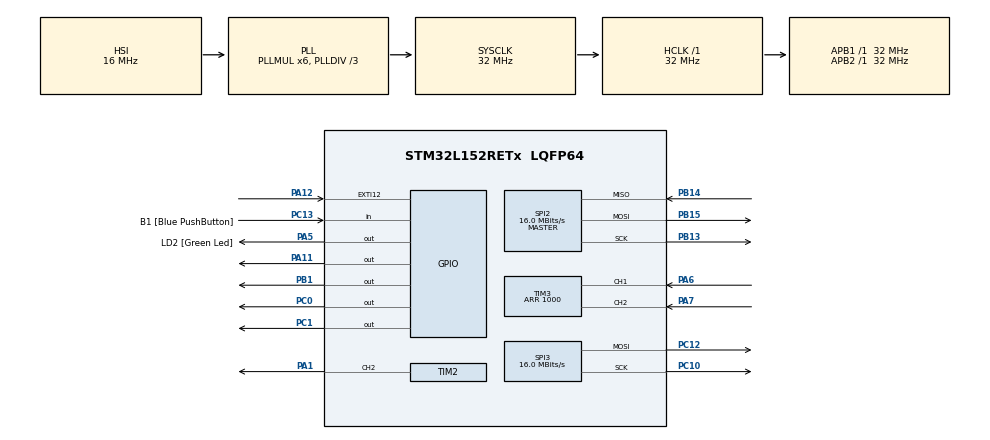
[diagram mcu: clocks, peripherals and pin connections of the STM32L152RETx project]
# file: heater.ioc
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Mcu.Family=STM32L1
Mcu.Name=STM32L152RETx
Mcu.Package=LQFP64
NVIC.EXTI15_10_IRQn=true\:15\:0\:true
NVIC.PriorityGroup=NVIC_PRIORITYGROUP_4
NVIC.TIM4_IRQn=true\:14\:0\:true
NVIC.TIM5_IRQn=true\:0\:0\:false
PA1.Signal=S_TIM2_CH2
PA11.GPIO_ModeDefaultOutputPP=GPIO_MODE_OUTPUT_PP
PA11.GPIO_PuPd=GPIO_PULLUP
PA11.GPIO_Speed=GPIO_SPEED_VERY_LOW
PA11.Signal=GPIO_Output
PA12.GPIO_ModeDefaultEXTI=GPIO_MODE_IT_RISING
PA12.GPIO_PuPd=GPIO_PULLDOWN
PA12.Signal=GPXTI12
PA13.GPIO_Label=TMS
PA13.Mode=Trace-Asynchronous_SW
PA13.Signal=SYS_JTMS-SWDIO
PA14.GPIO_Label=TCK
PA14.Mode=Trace-Asynchronous_SW
PA14.Signal=SYS_JTCK-SWCLK
PA2.GPIO_Label=USART_TX
PA2.GPIO_Mode=GPIO_MODE_AF_PP
PA2.GPIO_PuPd=GPIO_NOPULL
PA2.GPIO_Speed=GPIO_SPEED_HIGH
PA2.Signal=USART2_TX
PA3.GPIO_Label=USART_RX
PA3.GPIO_Mode=GPIO_MODE_AF_PP
PA3.GPIO_PuPd=GPIO_NOPULL
PA3.GPIO_Speed=GPIO_SPEED_HIGH
PA3.Signal=USART2_RX
PA5.GPIO_Label=LD2 [Green Led]
PA5.GPIO_ModeDefaultOutputPP=GPIO_MODE_OUTPUT_PP
PA5.GPIO_PuPd=GPIO_PULLDOWN
PA5.GPIO_Speed=GPIO_SPEED_VERY_LOW
PA5.Signal=GPIO_Output
PA6.GPIO_ModeDefaultPP=GPIO_MODE_AF_PP
PA6.GPIO_PuPd=GPIO_PULLUP
PA6.GPIO_Speed=GPIO_SPEED_MEDIUM
PA6.Signal=S_TIM3_CH1
PA7.GPIO_ModeDefaultPP=GPIO_MODE_AF_PP
PA7.GPIO_PuPd=GPIO_PULLUP
PA7.GPIO_Speed=GPIO_SPEED_MEDIUM
PA7.Signal=S_TIM3_CH2
PB1.Signal=GPIO_Output
PB13.GPIO_Mode=GPIO_MODE_AF_PP
PB13.GPIO_PuPd=GPIO_PULLDOWN
PB13.GPIO_Speed=GPIO_SPEED_HIGH
PB13.Mode=Full_Duplex_Master
PB13.Signal=SPI2_SCK
PB14.GPIO_Mode=GPIO_MODE_AF_PP
PB14.GPIO_PuPd=GPIO_PULLDOWN
PB14.GPIO_Speed=GPIO_SPEED_HIGH
PB14.Mode=Full_Duplex_Master
PB14.Signal=SPI2_MISO
PB15.GPIO_Mode=GPIO_MODE_AF_PP
PB15.GPIO_PuPd=GPIO_PULLDOWN
PB15.GPIO_Speed=GPIO_SPEED_HIGH
PB15.Mode=Full_Duplex_Master
PB15.Signal=SPI2_MOSI
PB3.GPIO_Label=SWO
PB3.Mode=Trace-Asynchronous_SW
PB3.Signal=SYS_JTDO-TRACESWO
PC0.Signal=GPIO_Output
PC1.Signal=GPIO_Output
PC10.Mode=TX_Only_Simplex_Unidirect_Master
PC10.Signal=SPI3_SCK
PC12.Mode=TX_Only_Simplex_Unidirect_Master
PC12.Signal=SPI3_MOSI
PC13-WKUP2.GPIO_Label=B1 [Blue PushButton]
PC13-WKUP2.GPIO_Mode=GPIO_MODE_INPUT
PC13-WKUP2.GPIO_PuPd=GPIO_NOPULL
PC13-WKUP2.Signal=GPIO_Input
PC14-OSC32_IN.Signal=RCC_OSC32_IN
PC15-OSC32_OUT.Signal=RCC_OSC32_OUT
PH0-OSC_IN.Signal=RCC_OSC_IN
PH1-OSC_OUT.Signal=RCC_OSC_OUT
ProjectManager.TargetToolchain=SW4STM32
RCC.AHBFreq_Value=32000000
RCC.APB1Freq_Value=32000000
RCC.APB1TimFreq_Value=32000000
RCC.APB2Freq_Value=32000000
RCC.APB2TimFreq_Value=32000000
RCC.HCLKFreq_Value=32000000
RCC.HSE_VALUE=8000000
RCC.HSI_VALUE=16000000
RCC.LSE_VALUE=32768
RCC.MSI_VALUE=2097000
RCC.PLLDIV=RCC_PLL_DIV3
RCC.PLLMUL=RCC_PLL_MUL6
RCC.RTCClockSelectionVirtual=RCC_RTCCLKSOURCE_LSE
RCC.SYSCLKFreq_VALUE=32000000
RCC.SYSCLKSource=RCC_SYSCLKSOURCE_PLLCLK
RCC.USBOutput=48000000
RCC.VCOOutputFreq_Value=96000000
SH.S_TIM2_CH2.0=TIM2_CH2,PWM Generation2 CH2
SH.S_TIM3_CH1.0=TIM3_CH1,Encoder_Interface
SH.S_TIM3_CH2.0=TIM3_CH2,Encoder_Interface
SPI2.BaudRatePrescaler=SPI_BAUDRATEPRESCALER_2
SPI2.CLKPolarity=SPI_POLARITY_HIGH
SPI2.CalculateBaudRate=16.0 MBits/s
SPI2.DataSize=SPI_DATASIZE_16BIT
SPI2.Mode=SPI_MODE_MASTER
SPI3.CalculateBaudRate=16.0 MBits/s
SPI3.Mode=SPI_MODE_MASTER
TIM2.Channel-PWM\ Generation2\ CH2=TIM_CHANNEL_2
TIM2.Period=0xffff
TIM2.Prescaler=500
TIM3.CounterMode=TIM_COUNTERMODE_DOWN
TIM3.IC1Filter=10
TIM3.IC2Filter=10
TIM3.Period=1000
TIM4.Period=0xffff
TIM4.Prescaler=2000
TIM5.Period=0xffff
TIM5.Prescaler=2000
VP_TIM2_VS_ClockSourceINT.Mode=Internal
VP_TIM4_VS_ClockSourceINT.Mode=Internal
VP_TIM5_VS_ClockSourceINT.Mode=Internal
board=NUCLEO-L152RE

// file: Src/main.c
/**
  ******************************************************************************
  * File Name          : main.c
  * Description        : Main program body
  ******************************************************************************
  *
  * COPYRIGHT(c) 2015 STMicroelectronics
  *
  * Redistribution and use in source and binary forms, with or without modification,
  * are permitted provided that the following conditions are met:
  *   1. Redistributions of source code must retain the above copyright notice,
  *      this list of conditions and the following disclaimer.
  *   2. Redistributions in binary form must reproduce the above copyright notice,
  *      this list of conditions and the following disclaimer in the documentation
  *      and/or other materials provided with the distribution.
  *   3. Neither the name of STMicroelectronics nor the names of its contributors
  *      may be used to endorse or promote products derived from this software
  *      without specific prior written permission.
  *
  * THIS SOFTWARE IS PROVIDED BY THE COPYRIGHT HOLDERS AND CONTRIBUTORS "AS IS"
  * AND ANY EXPRESS OR IMPLIED WARRANTIES, INCLUDING, BUT NOT LIMITED TO, THE
  * IMPLIED WARRANTIES OF MERCHANTABILITY AND FITNESS FOR A PARTICULAR PURPOSE ARE
  * DISCLAIMED. IN NO EVENT SHALL THE COPYRIGHT HOLDER OR CONTRIBUTORS BE LIABLE
  * FOR ANY DIRECT, INDIRECT, INCIDENTAL, SPECIAL, EXEMPLARY, OR CONSEQUENTIAL
  * DAMAGES (INCLUDING, BUT NOT LIMITED TO, PROCUREMENT OF SUBSTITUTE GOODS OR
  * SERVICES; LOSS OF USE, DATA, OR PROFITS; OR BUSINESS INTERRUPTION) HOWEVER
  * CAUSED AND ON ANY THEORY OF LIABILITY, WHETHER IN CONTRACT, STRICT LIABILITY,
  * OR TORT (INCLUDING NEGLIGENCE OR OTHERWISE) ARISING IN ANY WAY OUT OF THE USE
  * OF THIS SOFTWARE, EVEN IF ADVISED OF THE POSSIBILITY OF SUCH DAMAGE.
  *
  ******************************************************************************
  */
#include "stm32l1xx_hal.h"

/* USER CODE BEGIN Includes */
#include "u8g.h"
#include "u8g_arm.h"
#include <stdbool.h>

#define MAX_TEMP 999
#define ENCODER_STEP 3
#define DIFF_TIME_INTERVAL 3.0f;
/* USER CODE END Includes */

SPI_HandleTypeDef hspi2;
SPI_HandleTypeDef hspi3;

TIM_HandleTypeDef htim2;
TIM_HandleTypeDef htim3;
TIM_HandleTypeDef htim4;
TIM_HandleTypeDef htim5;

/* USER CODE BEGIN PV */
/* Private variables ---------------------------------------------------------*/
int temperature_get;
int temperature_set;
float pwm;
u8g_t u8g;
bool btn_short_pressed = false;
bool tmp_measure_made = false;

const float K_p = 0.07;
const float K_i = 0;
const float K_d = 0.05;
/* USER CODE END PV */

void SystemClock_Config(void);
static void MX_GPIO_Init(void);
static void MX_SPI2_Init(void);
static void MX_SPI3_Init(void);
static void MX_TIM2_Init(void);
static void MX_TIM3_Init(void);
static void MX_TIM4_Init(void);
static void MX_TIM5_Init(void);

/* USER CODE BEGIN PFP */
void set_pwm(float pwm_value);
float pid(float t_meas, float t_set)
{
	static int error_sum = 0;
	static float prev_diff = 0;
	float diff = t_set - t_meas;
	float d_diff = (prev_diff - diff) / DIFF_TIME_INTERVAL;
	prev_diff = diff;

	float result_pwm = 0;
	if (btn_short_pressed)
	{
		error_sum += diff;
		result_pwm = K_p*diff + K_i*error_sum + K_d*d_diff;

		if (error_sum > MAX_TEMP * 2)
		{
			error_sum = MAX_TEMP;
		}
		if (error_sum < -MAX_TEMP * 2)
		{
			error_sum = -MAX_TEMP;
		}
		if (result_pwm > 1.0)
		{
			result_pwm = 1.0;
		}
	}
	if (!btn_short_pressed)
	{
		result_pwm = 0.0;
	}
	return result_pwm;
}
/* Private function prototypes -----------------------------------------------*/

/* USER CODE END PFP */

/* USER CODE BEGIN 0 */

void draw_mask()
{
  u8g.font = u8g_font_profont10;
  u8g_DrawStr(&u8g, 3, 30, "MEASURED");
  u8g_DrawStr(&u8g, 75, 30, "SET");

}

void set_pwm(float pwm_value)
{
	TIM2->CCR2 = pwm_value * 0xffff;
}
/* USER CODE END 0 */

int main(void)
{

  /* MCU Configuration----------------------------------------------------------*/

  /* Reset of all peripherals, Initializes the Flash interface and the Systick. */
  HAL_Init();

  /* Configure the system clock */
  SystemClock_Config();

  /* Initialize all configured peripherals */
  MX_GPIO_Init();
  MX_SPI2_Init();
  MX_SPI3_Init();
  MX_TIM2_Init();
  MX_TIM3_Init();
  MX_TIM4_Init();
  MX_TIM5_Init();

  /* USER CODE BEGIN 2 */
  HAL_TIM_PWM_Start(&htim2, TIM_CHANNEL_2);
  HAL_TIM_Encoder_Start(&htim3,TIM_CHANNEL_ALL);
  HAL_TIM_Base_Start_IT(&htim4);
  HAL_GPIO_WritePin(GPIOA, GPIO_PIN_11, GPIO_PIN_SET);

  TIM3->ARR = MAX_TEMP / ENCODER_STEP;
  TIM3->CNT = MAX_TEMP / ENCODER_STEP;

  u8g_InitComFn(&u8g, &u8g_dev_ssd1306_128x64_hw_spi, u8g_com_hw_spi_fn);
  HAL_Delay(100);

  char buff_t_get[10];
  char buff_t_set[10];

  //set_pwm(0.5);
  /* USER CODE END 2 */

  /* Infinite loop */
  while (1)
  {

  /* USER CODE BEGIN 3 */
	  u8g_FirstPage(&u8g);
	  	  do
	  	  {

	  		  draw_mask();
	  		  temperature_set = MAX_TEMP - ENCODER_STEP*TIM3->CNT;
	  		  pwm = pid(temperature_get, temperature_set);
	  		  set_pwm(pwm);

	  		  sprintf(buff_t_get, "%d", temperature_get);
	  		  sprintf(buff_t_set, "%d", temperature_set);
	  		  u8g.font = u8g_font_profont22;
	  		  u8g_DrawStr(&u8g, 20, 55, buff_t_get);
	  		  u8g_DrawStr(&u8g, 75, 55, buff_t_set);

	  		  u8g.font = u8g_font_profont10;
	  		  sprintf(buff_t_get, "%f", pwm);
	  		  u8g_DrawStr(&u8g, 90, 30, buff_t_get);

	  		  if (tmp_measure_made)
	  		  {
	  			  u8g.font = u8g_font_profont10;
	  			  u8g_DrawStr(&u8g, 3, 7, "MEAS");

	  		  }

	  		  if (HAL_GPIO_ReadPin(GPIOA, GPIO_PIN_1))
	  		  {
	  			  u8g.font = u8g_font_profont10;
	  		      u8g_DrawStr(&u8g, 60, 7, "HEAT");
	  		  }
	  		  if (btn_short_pressed)
	  		  {
	  			  u8g.font = u8g_font_profont10;
	  		      u8g_DrawStr(&u8g, 90, 7, "START");

	  		  } else
	  		  {
	  			u8g.font = u8g_font_profont10;
	  			u8g_DrawStr(&u8g, 90, 7, "STOP");
	  		  }

	          } while ( u8g_NextPage(&u8g) );
	          HAL_Delay(10);

  }
  /* USER CODE END 3 */

}

/** System Clock Configuration
*/
void SystemClock_Config(void)
{

  RCC_OscInitTypeDef RCC_OscInitStruct;
  RCC_ClkInitTypeDef RCC_ClkInitStruct;

  __PWR_CLK_ENABLE();

  __HAL_PWR_VOLTAGESCALING_CONFIG(PWR_REGULATOR_VOLTAGE_SCALE1);

  RCC_OscInitStruct.OscillatorType = RCC_OSCILLATORTYPE_HSI;
  RCC_OscInitStruct.HSIState = RCC_HSI_ON;
  RCC_OscInitStruct.HSICalibrationValue = 16;
  RCC_OscInitStruct.PLL.PLLState = RCC_PLL_ON;
  RCC_OscInitStruct.PLL.PLLSource = RCC_PLLSOURCE_HSI;
  RCC_OscInitStruct.PLL.PLLMUL = RCC_PLL_MUL6;
  RCC_OscInitStruct.PLL.PLLDIV = RCC_PLL_DIV3;
  HAL_RCC_OscConfig(&RCC_OscInitStruct);

  RCC_ClkInitStruct.ClockType = RCC_CLOCKTYPE_SYSCLK;
  RCC_ClkInitStruct.SYSCLKSource = RCC_SYSCLKSOURCE_PLLCLK;
  RCC_ClkInitStruct.AHBCLKDivider = RCC_SYSCLK_DIV1;
  RCC_ClkInitStruct.APB1CLKDivider = RCC_HCLK_DIV1;
  RCC_ClkInitStruct.APB2CLKDivider = RCC_HCLK_DIV1;
  HAL_RCC_ClockConfig(&RCC_ClkInitStruct, FLASH_LATENCY_1);

  HAL_SYSTICK_Config(HAL_RCC_GetHCLKFreq()/1000);

  HAL_SYSTICK_CLKSourceConfig(SYSTICK_CLKSOURCE_HCLK);

  /* SysTick_IRQn interrupt configuration */
  HAL_NVIC_SetPriority(SysTick_IRQn, 0, 0);
}

/* SPI2 init function */
void MX_SPI2_Init(void)
{

  hspi2.Instance = SPI2;
  hspi2.Init.Mode = SPI_MODE_MASTER;
  hspi2.Init.Direction = SPI_DIRECTION_2LINES;
  hspi2.Init.DataSize = SPI_DATASIZE_16BIT;
  hspi2.Init.CLKPolarity = SPI_POLARITY_HIGH;
  hspi2.Init.CLKPhase = SPI_PHASE_1EDGE;
  hspi2.Init.NSS = SPI_NSS_SOFT;
  hspi2.Init.BaudRatePrescaler = SPI_BAUDRATEPRESCALER_2;
  hspi2.Init.FirstBit = SPI_FIRSTBIT_MSB;
  hspi2.Init.TIMode = SPI_TIMODE_DISABLED;
  hspi2.Init.CRCCalculation = SPI_CRCCALCULATION_DISABLED;
  hspi2.Init.CRCPolynomial = 10;
  HAL_SPI_Init(&hspi2);

}

/* SPI3 init function */
void MX_SPI3_Init(void)
{

  hspi3.Instance = SPI3;
  hspi3.Init.Mode = SPI_MODE_MASTER;
  hspi3.Init.Direction = SPI_DIRECTION_2LINES;
  hspi3.Init.DataSize = SPI_DATASIZE_8BIT;
  hspi3.Init.CLKPolarity = SPI_POLARITY_LOW;
  hspi3.Init.CLKPhase = SPI_PHASE_1EDGE;
  hspi3.Init.NSS = SPI_NSS_SOFT;
  hspi3.Init.BaudRatePrescaler = SPI_BAUDRATEPRESCALER_2;
  hspi3.Init.FirstBit = SPI_FIRSTBIT_MSB;
  hspi3.Init.TIMode = SPI_TIMODE_DISABLED;
  hspi3.Init.CRCCalculation = SPI_CRCCALCULATION_DISABLED;
  hspi3.Init.CRCPolynomial = 10;
  HAL_SPI_Init(&hspi3);

}

/* TIM2 init function */
void MX_TIM2_Init(void)
{

  TIM_ClockConfigTypeDef sClockSourceConfig;
  TIM_MasterConfigTypeDef sMasterConfig;
  TIM_OC_InitTypeDef sConfigOC;

  htim2.Instance = TIM2;
  htim2.Init.Prescaler = 500;
  htim2.Init.CounterMode = TIM_COUNTERMODE_UP;
  htim2.Init.Period = 0xffff;
  htim2.Init.ClockDivision = TIM_CLOCKDIVISION_DIV1;
  HAL_TIM_Base_Init(&htim2);

  sClockSourceConfig.ClockSource = TIM_CLOCKSOURCE_INTERNAL;
  HAL_TIM_ConfigClockSource(&htim2, &sClockSourceConfig);

  HAL_TIM_PWM_Init(&htim2);

  sMasterConfig.MasterOutputTrigger = TIM_TRGO_RESET;
  sMasterConfig.MasterSlaveMode = TIM_MASTERSLAVEMODE_DISABLE;
  HAL_TIMEx_MasterConfigSynchronization(&htim2, &sMasterConfig);

  sConfigOC.OCMode = TIM_OCMODE_PWM1;
  sConfigOC.Pulse = 0;
  sConfigOC.OCPolarity = TIM_OCPOLARITY_HIGH;
  sConfigOC.OCFastMode = TIM_OCFAST_DISABLE;
  HAL_TIM_PWM_ConfigChannel(&htim2, &sConfigOC, TIM_CHANNEL_2);

}

/* TIM3 init function */
void MX_TIM3_Init(void)
{

  TIM_Encoder_InitTypeDef sConfig;
  TIM_MasterConfigTypeDef sMasterConfig;

  htim3.Instance = TIM3;
  htim3.Init.Prescaler = 0;
  htim3.Init.CounterMode = TIM_COUNTERMODE_UP;
  htim3.Init.Period = 333;
  htim3.Init.ClockDivision = TIM_CLOCKDIVISION_DIV1;
  sConfig.EncoderMode = TIM_ENCODERMODE_TI1;
  sConfig.IC1Polarity = TIM_ICPOLARITY_RISING;
  sConfig.IC1Selection = TIM_ICSELECTION_DIRECTTI;
  sConfig.IC1Prescaler = TIM_ICPSC_DIV1;
  sConfig.IC1Filter = 10;
  sConfig.IC2Polarity = TIM_ICPOLARITY_RISING;
  sConfig.IC2Selection = TIM_ICSELECTION_DIRECTTI;
  sConfig.IC2Prescaler = TIM_ICPSC_DIV1;
  sConfig.IC2Filter = 10;
  HAL_TIM_Encoder_Init(&htim3, &sConfig);

  sMasterConfig.MasterOutputTrigger = TIM_TRGO_RESET;
  sMasterConfig.MasterSlaveMode = TIM_MASTERSLAVEMODE_DISABLE;
  HAL_TIMEx_MasterConfigSynchronization(&htim3, &sMasterConfig);

}

/* TIM4 init function */
void MX_TIM4_Init(void)
{

  TIM_ClockConfigTypeDef sClockSourceConfig;
  TIM_MasterConfigTypeDef sMasterConfig;

  htim4.Instance = TIM4;
  htim4.Init.Prescaler = 1000;
  htim4.Init.CounterMode = TIM_COUNTERMODE_UP;
  htim4.Init.Period = 0xffff;
  htim4.Init.ClockDivision = TIM_CLOCKDIVISION_DIV1;
  HAL_TIM_Base_Init(&htim4);

  sClockSourceConfig.ClockSource = TIM_CLOCKSOURCE_INTERNAL;
  HAL_TIM_ConfigClockSource(&htim4, &sClockSourceConfig);

  sMasterConfig.MasterOutputTrigger = TIM_TRGO_RESET;
  sMasterConfig.MasterSlaveMode = TIM_MASTERSLAVEMODE_DISABLE;
  HAL_TIMEx_MasterConfigSynchronization(&htim4, &sMasterConfig);

}

/* TIM5 init function */
void MX_TIM5_Init(void)
{

  TIM_ClockConfigTypeDef sClockSourceConfig;
  TIM_MasterConfigTypeDef sMasterConfig;

  htim5.Instance = TIM5;
  htim5.Init.Prescaler = 2000;
  htim5.Init.CounterMode = TIM_COUNTERMODE_UP;
  htim5.Init.Period = 0xffff;
  htim5.Init.ClockDivision = TIM_CLOCKDIVISION_DIV1;
  HAL_TIM_Base_Init(&htim5);

  sClockSourceConfig.ClockSource = TIM_CLOCKSOURCE_INTERNAL;
  HAL_TIM_ConfigClockSource(&htim5, &sClockSourceConfig);

  sMasterConfig.MasterOutputTrigger = TIM_TRGO_RESET;
  sMasterConfig.MasterSlaveMode = TIM_MASTERSLAVEMODE_DISABLE;
  HAL_TIMEx_MasterConfigSynchronization(&htim5, &sMasterConfig);

}

/** Configure pins as
        * Analog
        * Input
        * Output
        * EVENT_OUT
        * EXTI
     PA2   ------> USART2_TX
     PA3   ------> USART2_RX
*/
void MX_GPIO_Init(void)
{

  GPIO_InitTypeDef GPIO_InitStruct;

  /* GPIO Ports Clock Enable */
  __GPIOC_CLK_ENABLE();
  __GPIOH_CLK_ENABLE();
  __GPIOA_CLK_ENABLE();
  __GPIOB_CLK_ENABLE();

  /*Configure GPIO pin : PC13 */
  GPIO_InitStruct.Pin = GPIO_PIN_13;
  GPIO_InitStruct.Mode = GPIO_MODE_INPUT;
  GPIO_InitStruct.Pull = GPIO_NOPULL;
  HAL_GPIO_Init(GPIOC, &GPIO_InitStruct);

  /*Configure GPIO pins : PC0 PC1 */
  GPIO_InitStruct.Pin = GPIO_PIN_0|GPIO_PIN_1;
  GPIO_InitStruct.Mode = GPIO_MODE_OUTPUT_PP;
  GPIO_InitStruct.Pull = GPIO_NOPULL;
  GPIO_InitStruct.Speed = GPIO_SPEED_VERY_LOW;
  HAL_GPIO_Init(GPIOC, &GPIO_InitStruct);

  /*Configure GPIO pins : PA2 PA3 */
  GPIO_InitStruct.Pin = GPIO_PIN_2|GPIO_PIN_3;
  GPIO_InitStruct.Mode = GPIO_MODE_AF_PP;
  GPIO_InitStruct.Pull = GPIO_NOPULL;
  GPIO_InitStruct.Speed = GPIO_SPEED_HIGH;
  GPIO_InitStruct.Alternate = GPIO_AF7_USART2;
  HAL_GPIO_Init(GPIOA, &GPIO_InitStruct);

  /*Configure GPIO pin : PA5 */
  GPIO_InitStruct.Pin = GPIO_PIN_5;
  GPIO_InitStruct.Mode = GPIO_MODE_OUTPUT_PP;
  GPIO_InitStruct.Pull = GPIO_PULLDOWN;
  GPIO_InitStruct.Speed = GPIO_SPEED_VERY_LOW;
  HAL_GPIO_Init(GPIOA, &GPIO_InitStruct);

  /*Configure GPIO pin : PB1 */
  GPIO_InitStruct.Pin = GPIO_PIN_1;
  GPIO_InitStruct.Mode = GPIO_MODE_OUTPUT_PP;
  GPIO_InitStruct.Pull = GPIO_NOPULL;
  GPIO_InitStruct.Speed = GPIO_SPEED_VERY_LOW;
  HAL_GPIO_Init(GPIOB, &GPIO_InitStruct);

  /*Configure GPIO pin : PA11 */
  GPIO_InitStruct.Pin = GPIO_PIN_11;
  GPIO_InitStruct.Mode = GPIO_MODE_OUTPUT_PP;
  GPIO_InitStruct.Pull = GPIO_PULLUP;
  GPIO_InitStruct.Speed = GPIO_SPEED_VERY_LOW;
  HAL_GPIO_Init(GPIOA, &GPIO_InitStruct);

  /*Configure GPIO pin : PA12 */
  GPIO_InitStruct.Pin = GPIO_PIN_12;
  GPIO_InitStruct.Mode = GPIO_MODE_IT_RISING;
  GPIO_InitStruct.Pull = GPIO_PULLDOWN;
  HAL_GPIO_Init(GPIOA, &GPIO_InitStruct);

  /* EXTI interrupt init*/
  HAL_NVIC_SetPriority(EXTI15_10_IRQn, 15, 0);
  HAL_NVIC_EnableIRQ(EXTI15_10_IRQn);

}

/* USER CODE BEGIN 4 */

void HAL_GPIO_EXTI_Callback(uint16_t GPIO_Pin)
{
	HAL_Delay(20);
	if (HAL_GPIO_ReadPin(GPIOA, GPIO_PIN_12) == GPIO_PIN_SET)
	{
		btn_short_pressed =!btn_short_pressed;
	}
}

void HAL_TIM_PeriodElapsedCallback(TIM_HandleTypeDef *htim)
{
	if (htim->Instance == TIM4)
	{
		HAL_StatusTypeDef result;
		if (tmp_measure_made)
		{
			//Init conversion procedure
			tmp_measure_made = false;
			HAL_GPIO_WritePin(GPIOB, GPIO_PIN_1, GPIO_PIN_RESET);
		}
		else
		{
			//Finish conversion procedure
			uint16_t tmp = 0;
			tmp_measure_made = true;
		    result = HAL_SPI_Receive(&hspi2, (uint8_t *)&tmp, 2, 2000);
		    HAL_GPIO_WritePin(GPIOB, GPIO_PIN_1, GPIO_PIN_SET);
		    temperature_get = (tmp >> 2) * 0.25;
		}
	}
}

/* USER CODE END 4 */

/************************ (C) COPYRIGHT STMicroelectronics *****END OF FILE****/
